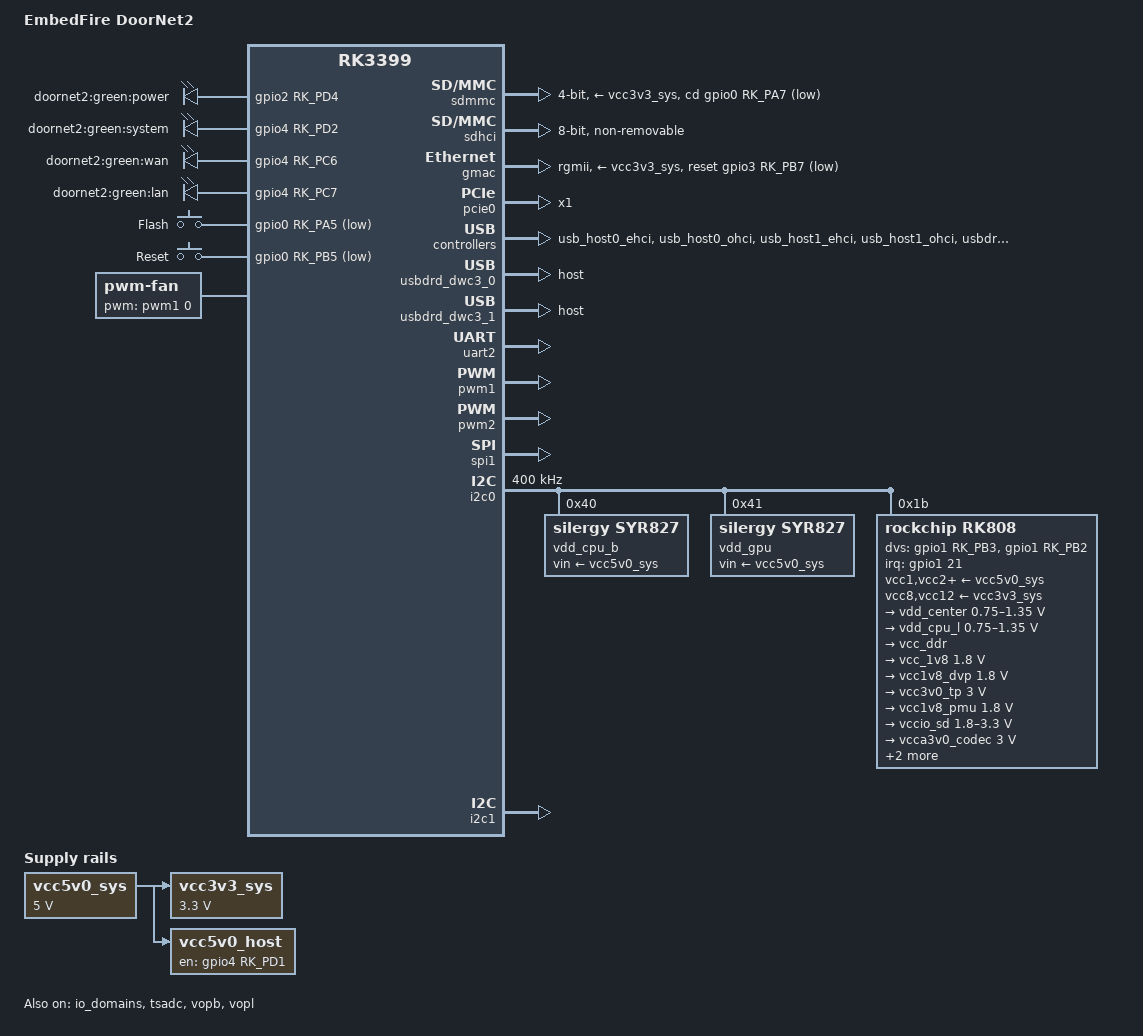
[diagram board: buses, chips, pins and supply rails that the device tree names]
// SPDX-License-Identifier: GPL-2.0-or-later OR MIT
/*
 * Device Tree Source for EmbedFire DoorNet2
 * SoC: Rockchip RK3399
 */

/dts-v1/;
#include "rk3399.dtsi"
// OPP table from kernel built-in

/ {
	model = "EmbedFire DoorNet2";
	compatible = "embedfire,doornet2", "rockchip,rk3399";

	chosen {
		stdout-path = &uart2;
		bootargs = "earlycon=uart8250,mmio32,0xff1a0000";
	};

	leds {
		compatible = "gpio-leds";
		pinctrl-names = "default";
		pinctrl-0 = <&led_power_pin &led_system_pin &led_wan_pin &led_lan_pin>;

		led_power: led-0 {
			label = "doornet2:green:power";
			gpios = <&gpio2 RK_PD4 GPIO_ACTIVE_HIGH>;
			default-state = "on";
		};

		led_system: led-1 {
			label = "doornet2:green:system";
			gpios = <&gpio4 RK_PD2 GPIO_ACTIVE_HIGH>;
			default-state = "off";
		};

		led_wan: led-2 {
			label = "doornet2:green:wan";
			gpios = <&gpio4 RK_PC6 GPIO_ACTIVE_HIGH>;
			default-state = "off";
		};

		led_lan: led-3 {
			label = "doornet2:green:lan";
			gpios = <&gpio4 RK_PC7 GPIO_ACTIVE_HIGH>;
			default-state = "off";
		};
	};

	gpio-keys {
		compatible = "gpio-keys";
		pinctrl-names = "default";
		pinctrl-0 = <&flash_key_pin &reset_key_pin>;
		autorepeat;

		flash_key: key-flash {
			label = "Flash";
			linux,code = <KEY_RESTART>;
			gpios = <&gpio0 RK_PA5 GPIO_ACTIVE_LOW>;
			debounce-interval = <50>;
		};

		reset_key: key-reset {
			label = "Reset";
			linux,code = <KEY_RESTART>;
			gpios = <&gpio0 RK_PB5 GPIO_ACTIVE_LOW>;
			debounce-interval = <50>;
		};
	};

	fan: pwm-fan {
		compatible = "pwm-fan";
		pwms = <&pwm1 0 10000 0>;
		cooling-levels = <0 64 128 192 255>;
		#cooling-cells = <2>;
	};

	vcc3v3_sys: vcc3v3-sys {
		compatible = "regulator-fixed";
		regulator-name = "vcc3v3_sys";
		regulator-always-on;
		regulator-boot-on;
		regulator-min-microvolt = <3300000>;
		regulator-max-microvolt = <3300000>;
		vin-supply = <&vcc5v0_sys>;
	};

	vcc5v0_sys: vcc5v0-sys {
		compatible = "regulator-fixed";
		regulator-name = "vcc5v0_sys";
		regulator-always-on;
		regulator-boot-on;
		regulator-min-microvolt = <5000000>;
		regulator-max-microvolt = <5000000>;
	};

	vcc5v0_host: vcc5v0-host-regulator {
		compatible = "regulator-fixed";
		enable-active-high;
		gpio = <&gpio4 RK_PD1 GPIO_ACTIVE_HIGH>;
		pinctrl-names = "default";
		pinctrl-0 = <&vcc5v0_host_en>;
		regulator-name = "vcc5v0_host";
		regulator-always-on;
		vin-supply = <&vcc5v0_sys>;
	};
};

&cpu_l0 { cpu-supply = <&vdd_cpu_b>; };
&cpu_l1 { cpu-supply = <&vdd_cpu_b>; };
&cpu_l2 { cpu-supply = <&vdd_cpu_b>; };
&cpu_l3 { cpu-supply = <&vdd_cpu_b>; };
&cpu_b0 { cpu-supply = <&vdd_cpu_b>; };
&cpu_b1 { cpu-supply = <&vdd_cpu_b>; };

&sdmmc {
	bus-width = <4>;
	cap-mmc-highspeed;
	cd-gpios = <&gpio0 RK_PA7 GPIO_ACTIVE_LOW>;
	disable-wp;
	pinctrl-names = "default";
	pinctrl-0 = <&sdmmc_clk &sdmmc_cmd &sdmmc_cd &sdmmc_bus4>;
	vmmc-supply = <&vcc3v3_sys>;
	vqmmc-supply = <&vccio_sd>;
	status = "okay";
};

&sdhci {
	bus-width = <8>;
	mmc-hs200-1_8v;
	non-removable;
	status = "okay";
};

&gmac {
	assigned-clocks = <&cru SCLK_RMII_SRC>;
	assigned-clock-parents = <&clkin_gmac>;
	clock_in_out = "input";
	phy-supply = <&vcc3v3_sys>;
	phy-mode = "rgmii";
	pinctrl-names = "default";
	pinctrl-0 = <&rgmii_pins>;
	snps,reset-gpio = <&gpio3 RK_PB7 GPIO_ACTIVE_LOW>;
	snps,reset-active-low;
	snps,reset-delays-us = <0 10000 50000>;
	tx_delay = <0x28>;
	rx_delay = <0x11>;
	status = "okay";
};

&pcie0 {
	ep-gpios = <&gpio2 RK_PD4 GPIO_ACTIVE_HIGH>;
	num-lanes = <1>;
	pinctrl-names = "default";
	pinctrl-0 = <&pcie_clkreqn_cpm>;
	status = "okay";
};

&usb_host0_ehci { status = "okay"; };
&usb_host0_ohci { status = "okay"; };
&usb_host1_ehci { status = "okay"; };
&usb_host1_ohci { status = "okay"; };
&usbdrd3_0 { status = "okay"; };
&usbdrd_dwc3_0 { dr_mode = "host"; status = "okay"; };
&usbdrd3_1 { status = "okay"; };
&usbdrd_dwc3_1 { dr_mode = "host"; status = "okay"; };
&uart2 { status = "okay"; };
&pwm1 { status = "okay"; };
&pwm2 { status = "okay"; };
&spi1 { status = "okay"; };

&i2c0 {
	status = "okay";
	i2c-scl-rising-time-ns = <168>;
	i2c-scl-falling-time-ns = <4>;
	clock-frequency = <400000>;

	vdd_cpu_b: regulator@40 {
		compatible = "silergy,syr827";
		reg = <0x40>;
		fcs,suspend-voltage-selector = <1>;
		regulator-name = "vdd_cpu_b";
		regulator-min-microvolt = <712500>;
		regulator-max-microvolt = <1500000>;
		regulator-ramp-delay = <1000>;
		regulator-always-on;
		regulator-boot-on;
		vin-supply = <&vcc5v0_sys>;
		regulator-state-mem { regulator-off-in-suspend; };
	};

	vdd_gpu: regulator@41 {
		compatible = "silergy,syr827";
		reg = <0x41>;
		fcs,suspend-voltage-selector = <1>;
		regulator-name = "vdd_gpu";
		regulator-min-microvolt = <712500>;
		regulator-max-microvolt = <1500000>;
		regulator-ramp-delay = <1000>;
		regulator-always-on;
		regulator-boot-on;
		vin-supply = <&vcc5v0_sys>;
		regulator-state-mem { regulator-off-in-suspend; };
	};

	rk808: pmic@1b {
		compatible = "rockchip,rk808";
		reg = <0x1b>;
		interrupt-parent = <&gpio1>;
		interrupts = <21 IRQ_TYPE_LEVEL_LOW>;
		clock-output-names = "xin32k", "rk808-clkout2";
		pinctrl-names = "default";
		pinctrl-0 = <&pmic_int_l>;
		rockchip,system-power-controller;
		wakeup-source;
		#clock-cells = <1>;

		vcc1-supply = <&vcc5v0_sys>;
		vcc2-supply = <&vcc5v0_sys>;
		vcc3-supply = <&vcc5v0_sys>;
		vcc4-supply = <&vcc5v0_sys>;
		vcc6-supply = <&vcc5v0_sys>;
		vcc7-supply = <&vcc5v0_sys>;
		vcc8-supply = <&vcc3v3_sys>;
		vcc9-supply = <&vcc5v0_sys>;
		vcc10-supply = <&vcc5v0_sys>;
		vcc11-supply = <&vcc5v0_sys>;
		vcc12-supply = <&vcc3v3_sys>;
		dvs-gpios = <&gpio1 RK_PB3 GPIO_ACTIVE_HIGH>,
			    <&gpio1 RK_PB2 GPIO_ACTIVE_HIGH>;

		regulators {
			vdd_center: DCDC_REG1 {
				regulator-name = "vdd_center";
				regulator-min-microvolt = <750000>;
				regulator-max-microvolt = <1350000>;
				regulator-ramp-delay = <6001>;
				regulator-always-on;
				regulator-boot-on;
				regulator-state-mem { regulator-off-in-suspend; };
			};
			vdd_cpu_l: DCDC_REG2 {
				regulator-name = "vdd_cpu_l";
				regulator-min-microvolt = <750000>;
				regulator-max-microvolt = <1350000>;
				regulator-ramp-delay = <6001>;
				regulator-always-on;
				regulator-boot-on;
				regulator-state-mem { regulator-off-in-suspend; };
			};
			vcc_ddr: DCDC_REG3 {
				regulator-name = "vcc_ddr";
				regulator-always-on;
				regulator-boot-on;
				regulator-state-mem { regulator-on-in-suspend; };
			};
			vcc_1v8: DCDC_REG4 {
				regulator-name = "vcc_1v8";
				regulator-min-microvolt = <1800000>;
				regulator-max-microvolt = <1800000>;
				regulator-always-on;
				regulator-boot-on;
				regulator-state-mem {
					regulator-on-in-suspend;
					regulator-suspend-microvolt = <1800000>;
				};
			};
			vcc1v8_dvp: LDO_REG1 {
				regulator-name = "vcc1v8_dvp";
				regulator-min-microvolt = <1800000>;
				regulator-max-microvolt = <1800000>;
				regulator-always-on;
				regulator-boot-on;
			};
			vcc3v0_tp: LDO_REG2 {
				regulator-name = "vcc3v0_tp";
				regulator-min-microvolt = <3000000>;
				regulator-max-microvolt = <3000000>;
				regulator-always-on;
				regulator-boot-on;
			};
			vcc1v8_pmu: LDO_REG3 {
				regulator-name = "vcc1v8_pmu";
				regulator-min-microvolt = <1800000>;
				regulator-max-microvolt = <1800000>;
				regulator-always-on;
				regulator-boot-on;
				regulator-state-mem {
					regulator-on-in-suspend;
					regulator-suspend-microvolt = <1800000>;
				};
			};
			vccio_sd: LDO_REG4 {
				regulator-name = "vccio_sd";
				regulator-min-microvolt = <1800000>;
				regulator-max-microvolt = <3300000>;
				regulator-always-on;
				regulator-boot-on;
			};
			vcca3v0_codec: LDO_REG5 {
				regulator-name = "vcca3v0_codec";
				regulator-min-microvolt = <3000000>;
				regulator-max-microvolt = <3000000>;
				regulator-always-on;
				regulator-boot-on;
			};
			vcc_1v5: LDO_REG6 {
				regulator-name = "vcc_1v5";
				regulator-min-microvolt = <1500000>;
				regulator-max-microvolt = <1500000>;
				regulator-always-on;
				regulator-boot-on;
			};
			vcca1v8_codec: LDO_REG7 {
				regulator-name = "vcca1v8_codec";
				regulator-min-microvolt = <1800000>;
				regulator-max-microvolt = <1800000>;
				regulator-always-on;
				regulator-boot-on;
			};
			vcc_3v0: LDO_REG8 {
				regulator-name = "vcc_3v0";
				regulator-min-microvolt = <3000000>;
				regulator-max-microvolt = <3000000>;
				regulator-always-on;
				regulator-boot-on;
			};
			vcc3v3_s3: SWITCH_REG1 { regulator-name = "vcc3v3_s3"; regulator-always-on; regulator-boot-on; };
			vcc3v3_s0: SWITCH_REG2 { regulator-name = "vcc3v3_s0"; regulator-always-on; regulator-boot-on; };
		};
	};
};

&i2c1 {
	status = "okay";
	i2c-scl-rising-time-ns = <300>;
	i2c-scl-falling-time-ns = <15>;
};

&io_domains {
	status = "okay";
	bt656-supply = <&vcc1v8_dvp>;
	audio-supply = <&vcca1v8_codec>;
	sdmmc-supply = <&vccio_sd>;
	gpio1830-supply = <&vcc_3v0>;
};

&pmu_io_domains {
	status = "okay";
	pmu1830-supply = <&vcc_1v8>;
};

&tsadc { status = "okay"; };
&vopb { status = "okay"; };
&vopb_mmu { status = "okay"; };
&vopl { status = "okay"; };
&vopl_mmu { status = "okay"; };

&pinctrl {
	leds {
		led_power_pin: led-power-pin { rockchip,pins = <2 RK_PD4 RK_FUNC_GPIO &pcfg_pull_none>; };
		led_system_pin: led-system-pin { rockchip,pins = <4 RK_PD2 RK_FUNC_GPIO &pcfg_pull_none>; };
		led_wan_pin: led-wan-pin { rockchip,pins = <4 RK_PC6 RK_FUNC_GPIO &pcfg_pull_none>; };
		led_lan_pin: led-lan-pin { rockchip,pins = <4 RK_PC7 RK_FUNC_GPIO &pcfg_pull_none>; };
	};
	keys {
		flash_key_pin: flash-key-pin { rockchip,pins = <0 RK_PA5 RK_FUNC_GPIO &pcfg_pull_up>; };
		reset_key_pin: reset-key-pin { rockchip,pins = <0 RK_PB5 RK_FUNC_GPIO &pcfg_pull_up>; };
	};
	pmic {
		pmic_int_l: pmic-int-l { rockchip,pins = <1 RK_PC5 RK_FUNC_GPIO &pcfg_pull_up>; };
	};
	usb2 {
		vcc5v0_host_en: vcc5v0-host-en { rockchip,pins = <4 RK_PD1 RK_FUNC_GPIO &pcfg_pull_none>; };
	};
};
